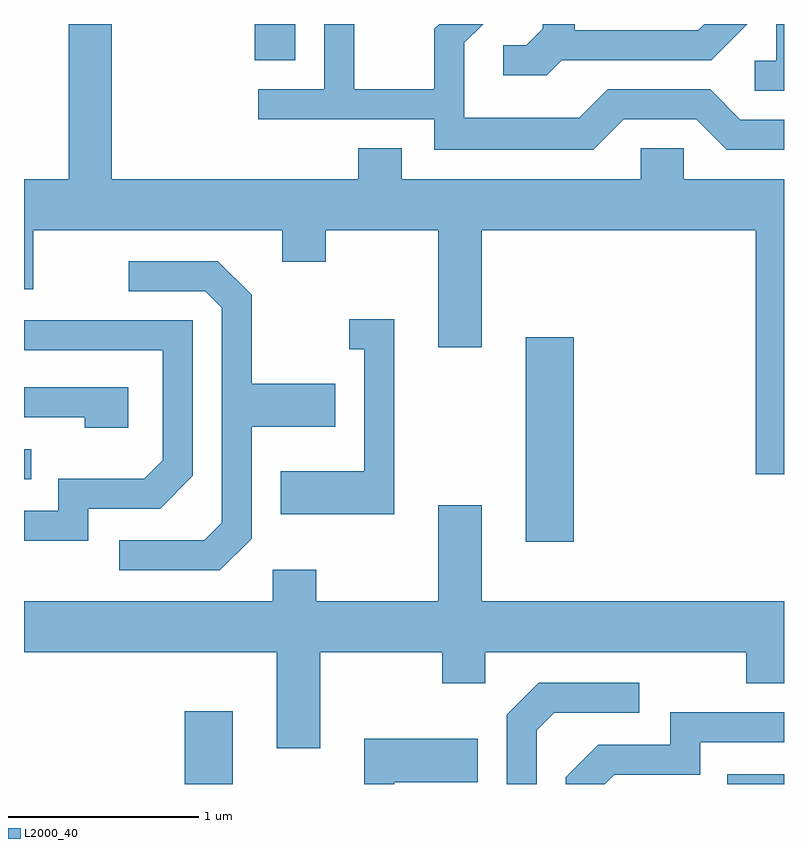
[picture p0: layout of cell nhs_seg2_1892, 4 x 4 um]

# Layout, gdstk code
import gdstk
lib = gdstk.Library(unit=1e-6, precision=1e-09)
def R(c, l, rs):  # rectangles x0, y0, x1, y1
    for r in rs: c.add(gdstk.rectangle(r[:2], r[2:], *l))
def P(c, l, *ps):  # polygons
    for p in ps: c.add(gdstk.Polygon(p, *l))
L2000_40 = (2000, 40)

nhs_seg2_1892 = lib.new_cell('nhs_seg2_1892')
R(nhs_seg2_1892, L2000_40, [(240.456,1089.802,240.709,1090.184), (243.313,1089.802,243.611,1089.854), (242.251,1091.076,242.504,1092.154), (239.611,1091.406,239.648,1091.564), (240.826,1093.611,241.039,1093.802)])
P(nhs_seg2_1892, L2000_40, [(242.767,1093.301),(243.149,1093.301),(243.309,1093.141),(243.611,1093.141),(243.611,1093.299),(243.382,1093.299),(243.222,1093.459),(242.684,1093.459),(242.534,1093.309),(241.929,1093.309),(241.929,1093.704),(242.027,1093.802),(241.796,1093.802),(241.771,1093.777),(241.771,1093.459),(241.349,1093.459),(241.349,1093.802),(241.191,1093.802),(241.191,1093.459),(240.843,1093.459),(240.843,1093.301),(241.771,1093.301),(241.771,1093.141),(242.607,1093.141)],
  [(242.442,1093.611),(243.227,1093.611),(243.417,1093.802),(243.192,1093.802),(243.159,1093.769),(242.509,1093.769),(242.509,1093.802),(242.341,1093.802),(242.341,1093.777),(242.254,1093.689),(242.133,1093.689),(242.133,1093.531),(242.362,1093.531)],
  [(243.611,1093.802),(243.571,1093.802),(243.571,1093.609),(243.458,1093.609),(243.458,1093.451),(243.611,1093.451)],
  [(243.611,1092.984),(243.084,1092.984),(243.084,1093.149),(242.856,1093.149),(242.856,1092.984),(241.599,1092.984),(241.599,1093.149),(241.371,1093.149),(241.371,1092.984),(240.074,1092.984),(240.074,1093.802),(239.846,1093.802),(239.846,1092.984),(239.611,1092.984),(239.611,1092.406),(239.659,1092.406),(239.659,1092.716),(240.971,1092.716),(240.971,1092.551),(241.199,1092.551),(241.199,1092.716),(241.791,1092.716),(241.791,1092.101),(242.019,1092.101),(242.019,1092.716),(243.461,1092.716),(243.461,1091.431),(243.611,1091.431)],
  [(240.809,1091.094),(240.809,1091.681),(241.249,1091.681),(241.249,1091.909),(240.809,1091.909),(240.809,1092.377),(240.632,1092.554),(240.163,1092.554),(240.163,1092.396),(240.564,1092.396),(240.651,1092.309),(240.651,1091.177),(240.559,1091.084),(240.113,1091.084),(240.113,1090.926),(240.642,1090.926)],
  [(241.559,1092.249),(241.323,1092.249),(241.323,1092.091),(241.401,1092.091),(241.401,1091.449),(240.961,1091.449),(240.961,1091.221),(241.559,1091.221)],
  [(239.949,1091.251),(240.327,1091.251),(240.499,1091.424),(240.499,1092.244),(239.611,1092.244),(239.611,1092.086),(240.341,1092.086),(240.341,1091.507),(240.244,1091.409),(239.791,1091.409),(239.791,1091.239),(239.611,1091.239),(239.611,1091.081),(239.949,1091.081)],
  [(240.159,1091.889),(239.611,1091.889),(239.611,1091.731),(239.931,1091.731),(239.931,1091.676),(240.159,1091.676)],
  [(240.941,1089.991),(241.169,1089.991),(241.169,1090.496),(241.811,1090.496),(241.811,1090.331),(242.039,1090.331),(242.039,1090.496),(243.411,1090.496),(243.411,1090.331),(243.611,1090.331),(243.611,1090.764),(242.019,1090.764),(242.019,1091.269),(241.791,1091.269),(241.791,1090.764),(241.149,1090.764),(241.149,1090.929),(240.921,1090.929),(240.921,1090.764),(239.611,1090.764),(239.611,1090.496),(240.941,1090.496)],
  [(242.309,1090.084),(242.402,1090.176),(242.848,1090.176),(242.848,1090.334),(242.319,1090.334),(242.151,1090.167),(242.151,1089.802),(242.309,1089.802)],
  [(242.717,1089.851),(243.169,1089.851),(243.169,1090.021),(243.611,1090.021),(243.611,1090.179),(243.011,1090.179),(243.011,1090.009),(242.634,1090.009),(242.461,1089.837),(242.461,1089.802),(242.667,1089.802)],
  [(241.559,1089.811),(241.999,1089.811),(241.999,1090.039),(241.401,1090.039),(241.401,1089.802),(241.559,1089.802)])

lib.write_gds('nhs_seg2_1892.gds')
